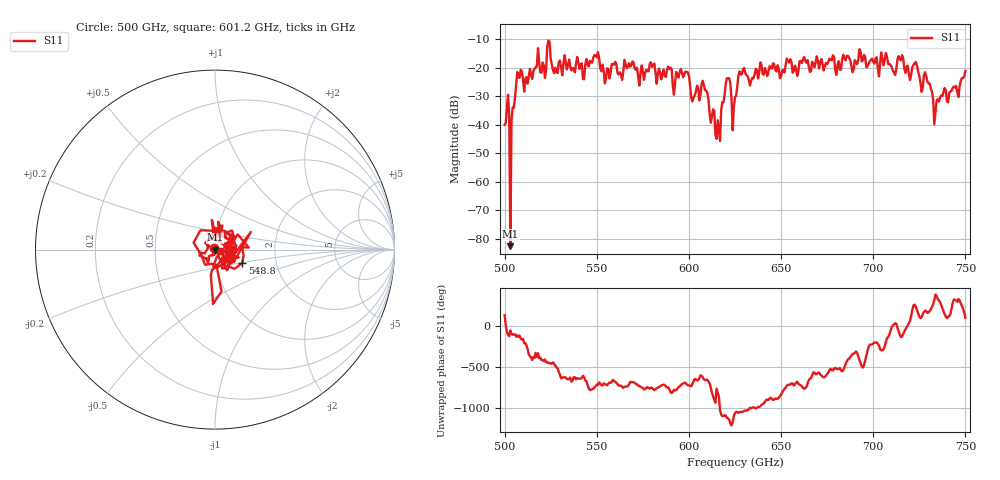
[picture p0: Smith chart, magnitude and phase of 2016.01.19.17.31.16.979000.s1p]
!Created with skrf (http://scikit-rf.org).
# GHz S RI R 50.0
!freq ReS11 ImS11
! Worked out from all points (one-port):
!   401 points, 500 GHz to 750 GHz, reference 50 ohm
!   lowest |S11| = -82.7 dB at 503.1 GHz (marker M1), VSWR 1.00, Z = 50 - j0.0062 ohm
!   |S11| at or under -10 dB: start of sweep to end of sweep
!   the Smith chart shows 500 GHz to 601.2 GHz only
!   S11 on the Smith chart (normalised r, x): 500 GHz: 0.99, +0.02; 548.8 GHz: 1.34, -0.21; 601.2 GHz: 1.06, -0.02
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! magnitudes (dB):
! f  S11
! 500 GHz  -40.0
! 501.2 GHz  -33.7
! 501.9 GHz  -29.5
! 503.1 GHz  -82.7
! 504.4 GHz  -33.9
! 505 GHz  -34.1
! 508.1 GHz  -23.5
! 521.2 GHz  -19.1
! 524.4 GHz  -10.8
! 527.5 GHz  -19.9
! 531.2 GHz  -22.6
! 548.8 GHz  -15.4
! 562.5 GHz  -21.6
! 593.8 GHz  -22.2
! 598.8 GHz  -21.5
! 601.2 GHz  -30.4
! 608.8 GHz  -27.7
! 615.6 GHz  -38.4
! 621.2 GHz  -23.6
! 625 GHz  -30.3
! 628.8 GHz  -22.2
! 656.2 GHz  -21.7
! 687.5 GHz  -17.2
! 715 GHz  -17.3
! 718.8 GHz  -19.2
! 728.8 GHz  -22.9
! 734.4 GHz  -31.6
! 750 GHz  -21.1
